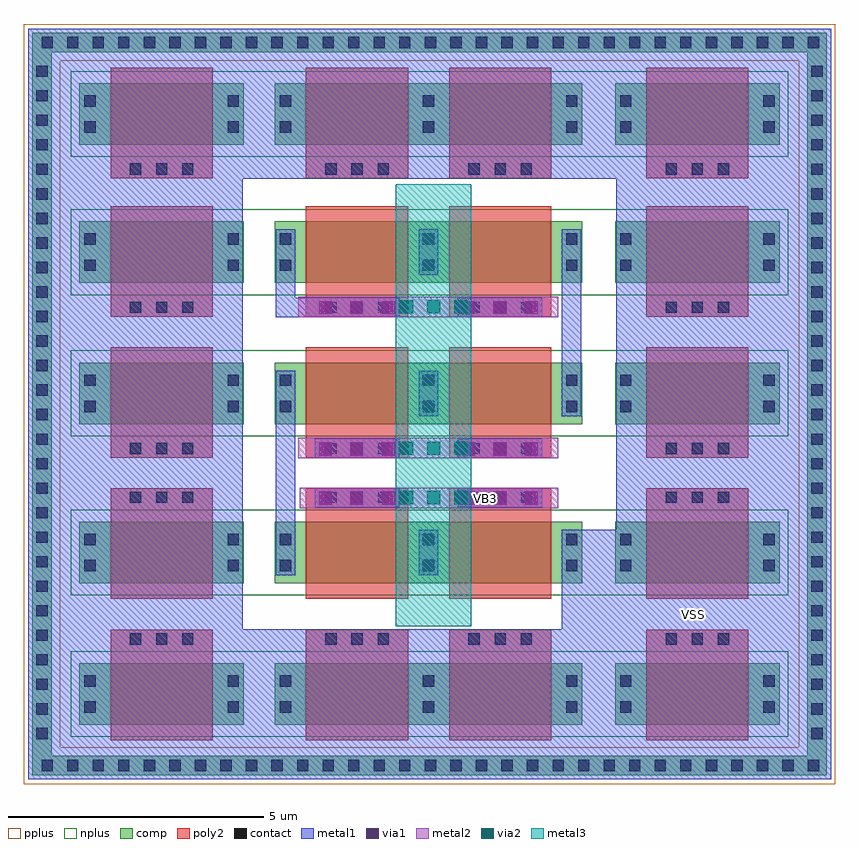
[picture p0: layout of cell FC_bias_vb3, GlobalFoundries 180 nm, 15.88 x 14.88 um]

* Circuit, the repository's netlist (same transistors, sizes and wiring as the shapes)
** sch_path: /home/gmaranhao/Desktop/Bracolin/TIA_Filter/Folded/FC_bias_vb3.sch
.subckt FC_bias_vb3 VSS VB3
*.PININFO VSS:B VB3:B
M1 VB3 VB3 net1 VSS nfet_03v3 L=2u W=1.2u nf=1 m=1
M2 net1 VB3 net3 VSS nfet_03v3 L=2u W=1.2u nf=1 m=1
M18 net3 VB3 net2 VSS nfet_03v3 L=2u W=1.2u nf=1 m=1
M19 net2 VB3 net5 VSS nfet_03v3 L=2u W=1.2u nf=1 m=1
M20 net5 VB3 net4 VSS nfet_03v3 L=2u W=1.2u nf=1 m=1
M21 net4 VB3 VSS VSS nfet_03v3 L=2u W=1.2u nf=1 m=1
M3[1] VSS VSS VSS VSS nfet_03v3 L=2u W=1.2u nf=1 m=1
M3[2] VSS VSS VSS VSS nfet_03v3 L=2u W=1.2u nf=1 m=1
M3[3] VSS VSS VSS VSS nfet_03v3 L=2u W=1.2u nf=1 m=1
M3[4] VSS VSS VSS VSS nfet_03v3 L=2u W=1.2u nf=1 m=1
M3[5] VSS VSS VSS VSS nfet_03v3 L=2u W=1.2u nf=1 m=1
M3[6] VSS VSS VSS VSS nfet_03v3 L=2u W=1.2u nf=1 m=1
M3[7] VSS VSS VSS VSS nfet_03v3 L=2u W=1.2u nf=1 m=1
M3[8] VSS VSS VSS VSS nfet_03v3 L=2u W=1.2u nf=1 m=1
M3[9] VSS VSS VSS VSS nfet_03v3 L=2u W=1.2u nf=1 m=1
M3[10] VSS VSS VSS VSS nfet_03v3 L=2u W=1.2u nf=1 m=1
M3[11] VSS VSS VSS VSS nfet_03v3 L=2u W=1.2u nf=1 m=1
M3[12] VSS VSS VSS VSS nfet_03v3 L=2u W=1.2u nf=1 m=1
M3[13] VSS VSS VSS VSS nfet_03v3 L=2u W=1.2u nf=1 m=1
M3[14] VSS VSS VSS VSS nfet_03v3 L=2u W=1.2u nf=1 m=1
.ends
.end

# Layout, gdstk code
from math import pi, radians
import gdstk
lib = gdstk.Library(unit=1e-6, precision=1e-09)
def R(c, l, rs):  # rectangles x0, y0, x1, y1
    for r in rs: c.add(gdstk.rectangle(r[:2], r[2:], *l))
def A(c, l, x, y, w, h, nx, ny, dx, dy):  # array of equal rectangles
    R(c, l, [(x+i*dx, y+j*dy, x+i*dx+w, y+j*dy+h) for i in range(nx) for j in range(ny)])
comp = (22, 0)
poly2 = (30, 0)
pplus = (31, 0)
nplus = (32, 0)
contact = (33, 0)
metal1 = (34, 0)
via1 = (35, 0)
metal2 = (36, 0)
via2 = (38, 0)
metal3 = (42, 0)

nfet_1 = lib.new_cell('nfet$1')
R(nfet_1, comp, [(-0.42,0,0,1.2), (0,0,2.38,1.2), (2.38,0,2.8,1.2)])
R(nfet_1, poly2, [(0.19,-0.3,2.19,1.5), (0.19,1.5,2.19,1.86)])
R(nfet_1, nplus, [(-0.59,-0.24,2.97,1.44)])
A(nfet_1, contact, 0.57, 1.57, 0.22, 0.22, 3, 1, 0.51, 0)
R(nfet_1, contact, [(-0.32,0.235,-0.1,0.455), (2.48,0.235,2.7,0.455), (-0.32,0.745,-0.1,0.965), (2.48,0.745,2.7,0.965)])
R(nfet_1, metal1, [(-0.4,0.155,-0.02,1.045), (2.4,0.155,2.78,1.045), (0.49,1.49,1.89,1.87)])

fc_bias_vb3 = lib.new_cell('FC_bias_vb3')
R(fc_bias_vb3, comp, [(-5.735,-3.395,9.81,-3.015), (-5.735,-3.385,-5.355,10.815), (9.43,-3.365,9.81,10.87), (-5.735,10.76,9.81,11.14)])
R(fc_bias_vb3, pplus, [(-5.905,-3.565,9.98,-2.845), (-5.905,-3.18,-5.185,11.31), (9.26,-3.18,9.98,10.61), (-5.77,10.59,9.98,11.31)])
R(fc_bias_vb3, nplus, [(-1.425,-2.645,-1.125,-0.965), (5.2,-2.645,5.5,-0.965), (-1.425,0.125,-1.125,1.805), (5.2,0.125,5.5,1.805), (-1.425,3.24,-1.125,4.92), (5.2,3.24,5.5,4.92), (-1.425,6.005,-1.125,7.685), (5.2,6.005,5.5,7.685), (-1.425,8.71,-1.125,10.39), (5.2,8.71,5.5,10.39)])
A(fc_bias_vb3, contact, -5.555, -3.315, 0.22, 0.22, 31, 2, 0.5, 14.155)
A(fc_bias_vb3, contact, -5.655, -2.685, 0.22, 0.22, 1, 28, 0, 0.48)
A(fc_bias_vb3, contact, 9.51, -2.685, 0.22, 0.22, 1, 28, 0, 0.48)
R(fc_bias_vb3, metal1, [(-5.82,-3.475,-1.615,9.995), (-4.795,-3.475,5.74,-0.535), (5.69,-3.475,9.9,11.215), (4.63,-0.65,5.835,1.41), (-0.97,1.15,-0.59,4.1), (-0.205,1.855,1.445,2.235), (2.595,1.855,4.245,2.235), (-0.205,2.81,1.445,3.19), (2.595,2.81,4.245,3.19), (4.63,4.125,5.01,7.075), (-0.97,5.575,-0.59,6.475), (-0.835,5.575,-0.055,5.955), (-0.205,5.575,1.445,5.955), (2.595,5.575,4.245,5.955), (-5.82,8.28,5.74,11.215)])
R(fc_bias_vb3, via1, [(-0.135,1.905,0.125,2.165), (-0.135,1.905,0.125,2.165), (-0.135,1.905,0.125,2.165), (-0.135,1.905,0.125,2.165), (-0.135,1.905,0.125,2.165), (-0.135,1.905,0.125,2.165), (-0.135,1.905,0.125,2.165), (-0.135,1.905,0.125,2.165), (0.485,1.905,0.745,2.165), (0.485,1.905,0.745,2.165), (0.485,1.905,0.745,2.165), (0.485,1.905,0.745,2.165), (0.485,1.905,0.745,2.165), (0.485,1.905,0.745,2.165), (0.485,1.905,0.745,2.165), (0.485,1.905,0.745,2.165), (1.105,1.905,1.365,2.165), (1.105,1.905,1.365,2.165), (1.105,1.905,1.365,2.165), (1.105,1.905,1.365,2.165), (1.105,1.905,1.365,2.165), (1.105,1.905,1.365,2.165), (1.105,1.905,1.365,2.165), (1.105,1.905,1.365,2.165), (2.665,1.905,2.925,2.165), (2.665,1.905,2.925,2.165), (2.665,1.905,2.925,2.165), (2.665,1.905,2.925,2.165), (2.665,1.905,2.925,2.165), (2.665,1.905,2.925,2.165), (2.665,1.905,2.925,2.165), (2.665,1.905,2.925,2.165), (3.285,1.905,3.545,2.165), (3.285,1.905,3.545,2.165), (3.285,1.905,3.545,2.165), (3.285,1.905,3.545,2.165), (3.285,1.905,3.545,2.165), (3.285,1.905,3.545,2.165), (3.285,1.905,3.545,2.165), (3.285,1.905,3.545,2.165), (3.905,1.905,4.165,2.165), (3.905,1.905,4.165,2.165), (3.905,1.905,4.165,2.165), (3.905,1.905,4.165,2.165), (3.905,1.905,4.165,2.165), (3.905,1.905,4.165,2.165), (3.905,1.905,4.165,2.165), (3.905,1.905,4.165,2.165), (-0.135,2.86,0.125,3.12), (-0.135,2.86,0.125,3.12), (-0.135,2.86,0.125,3.12), (-0.135,2.86,0.125,3.12), (-0.135,2.86,0.125,3.12), (-0.135,2.86,0.125,3.12), (-0.135,2.86,0.125,3.12), (-0.135,2.86,0.125,3.12), (0.485,2.86,0.745,3.12), (0.485,2.86,0.745,3.12), (0.485,2.86,0.745,3.12), (0.485,2.86,0.745,3.12), (0.485,2.86,0.745,3.12), (0.485,2.86,0.745,3.12), (0.485,2.86,0.745,3.12), (0.485,2.86,0.745,3.12), (1.105,2.86,1.365,3.12), (1.105,2.86,1.365,3.12), (1.105,2.86,1.365,3.12), (1.105,2.86,1.365,3.12), (1.105,2.86,1.365,3.12), (1.105,2.86,1.365,3.12), (1.105,2.86,1.365,3.12), (1.105,2.86,1.365,3.12), (2.665,2.86,2.925,3.12), (2.665,2.86,2.925,3.12), (2.665,2.86,2.925,3.12), (2.665,2.86,2.925,3.12), (2.665,2.86,2.925,3.12), (2.665,2.86,2.925,3.12), (2.665,2.86,2.925,3.12), (2.665,2.86,2.925,3.12), (3.285,2.86,3.545,3.12), (3.285,2.86,3.545,3.12), (3.285,2.86,3.545,3.12), (3.285,2.86,3.545,3.12), (3.285,2.86,3.545,3.12), (3.285,2.86,3.545,3.12), (3.285,2.86,3.545,3.12), (3.285,2.86,3.545,3.12), (3.905,2.86,4.165,3.12), (3.905,2.86,4.165,3.12), (3.905,2.86,4.165,3.12), (3.905,2.86,4.165,3.12), (3.905,2.86,4.165,3.12), (3.905,2.86,4.165,3.12), (3.905,2.86,4.165,3.12), (3.905,2.86,4.165,3.12), (-0.135,5.625,0.125,5.885), (-0.135,5.625,0.125,5.885), (-0.135,5.625,0.125,5.885), (-0.135,5.625,0.125,5.885), (-0.135,5.625,0.125,5.885), (-0.135,5.625,0.125,5.885), (-0.135,5.625,0.125,5.885), (-0.135,5.625,0.125,5.885), (0.485,5.625,0.745,5.885), (0.485,5.625,0.745,5.885), (0.485,5.625,0.745,5.885), (0.485,5.625,0.745,5.885), (0.485,5.625,0.745,5.885), (0.485,5.625,0.745,5.885), (0.485,5.625,0.745,5.885), (0.485,5.625,0.745,5.885), (1.105,5.625,1.365,5.885), (1.105,5.625,1.365,5.885), (1.105,5.625,1.365,5.885), (1.105,5.625,1.365,5.885), (1.105,5.625,1.365,5.885), (1.105,5.625,1.365,5.885), (1.105,5.625,1.365,5.885), (1.105,5.625,1.365,5.885), (2.665,5.625,2.925,5.885), (2.665,5.625,2.925,5.885), (2.665,5.625,2.925,5.885), (2.665,5.625,2.925,5.885), (2.665,5.625,2.925,5.885), (2.665,5.625,2.925,5.885), (2.665,5.625,2.925,5.885), (2.665,5.625,2.925,5.885), (3.285,5.625,3.545,5.885), (3.285,5.625,3.545,5.885), (3.285,5.625,3.545,5.885), (3.285,5.625,3.545,5.885), (3.285,5.625,3.545,5.885), (3.285,5.625,3.545,5.885), (3.285,5.625,3.545,5.885), (3.285,5.625,3.545,5.885), (3.905,5.625,4.165,5.885), (3.905,5.625,4.165,5.885), (3.905,5.625,4.165,5.885), (3.905,5.625,4.165,5.885), (3.905,5.625,4.165,5.885), (3.905,5.625,4.165,5.885), (3.905,5.625,4.165,5.885), (3.905,5.625,4.165,5.885)])
R(fc_bias_vb3, metal2, [(-0.5,1.835,4.56,2.235), (-0.53,2.81,4.555,3.21), (-0.53,5.575,4.555,5.975)])
R(fc_bias_vb3, via2, [(1.46,1.915,1.72,2.175), (1.46,1.915,1.72,2.175), (1.99,1.915,2.25,2.175), (1.99,1.915,2.25,2.175), (2.52,1.915,2.78,2.175), (2.52,1.915,2.78,2.175), (1.46,2.875,1.72,3.135), (1.46,2.875,1.72,3.135), (1.99,2.875,2.25,3.135), (1.99,2.875,2.25,3.135), (2.52,2.875,2.78,3.135), (2.52,2.875,2.78,3.135), (1.46,5.645,1.72,5.905), (1.46,5.645,1.72,5.905), (1.99,5.645,2.25,5.905), (1.99,5.645,2.25,5.905), (2.52,5.645,2.78,5.905), (2.52,5.645,2.78,5.905)])
R(fc_bias_vb3, metal3, [(1.375,-0.475,2.855,8.17)])
fc_bias_vb3.add(gdstk.Reference(nfet_1, (-0.57,0.365)))
fc_bias_vb3.add(gdstk.Reference(nfet_1, (2.23,0.365)))
fc_bias_vb3.add(gdstk.Reference(nfet_1, (4.61,4.68), rotation=pi))
fc_bias_vb3.add(gdstk.Reference(nfet_1, (1.81,4.68), rotation=pi))
fc_bias_vb3.add(gdstk.Reference(nfet_1, (4.61,7.445), rotation=pi))
fc_bias_vb3.add(gdstk.Reference(nfet_1, (1.81,7.445), rotation=pi))
fc_bias_vb3.add(gdstk.Reference(nfet_1, (-0.57,-2.405)))
fc_bias_vb3.add(gdstk.Reference(nfet_1, (2.23,-2.405)))
fc_bias_vb3.add(gdstk.Reference(nfet_1, (4.61,10.15), rotation=pi))
fc_bias_vb3.add(gdstk.Reference(nfet_1, (1.81,10.15), rotation=pi))
fc_bias_vb3.add(gdstk.Reference(nfet_1, (6.09,0.365)))
fc_bias_vb3.add(gdstk.Reference(nfet_1, (8.47,4.68), rotation=pi))
fc_bias_vb3.add(gdstk.Reference(nfet_1, (8.47,7.445), rotation=pi))
fc_bias_vb3.add(gdstk.Reference(nfet_1, (6.09,-2.405)))
fc_bias_vb3.add(gdstk.Reference(nfet_1, (8.47,10.15), rotation=pi))
fc_bias_vb3.add(gdstk.Reference(nfet_1, (-4.395,0.365)))
fc_bias_vb3.add(gdstk.Reference(nfet_1, (-2.015,4.68), rotation=pi))
fc_bias_vb3.add(gdstk.Reference(nfet_1, (-2.015,7.445), rotation=pi))
fc_bias_vb3.add(gdstk.Reference(nfet_1, (-4.395,-2.405)))
fc_bias_vb3.add(gdstk.Reference(nfet_1, (-2.015,10.15), rotation=pi))
fc_bias_vb3.add(gdstk.Label('VSS', (7.2,-0.25), layer=34, texttype=10))
fc_bias_vb3.add(gdstk.Label('VB3', (3.14,2.02), layer=34, texttype=10))

lib.write_gds('FC_bias_vb3.gds')
